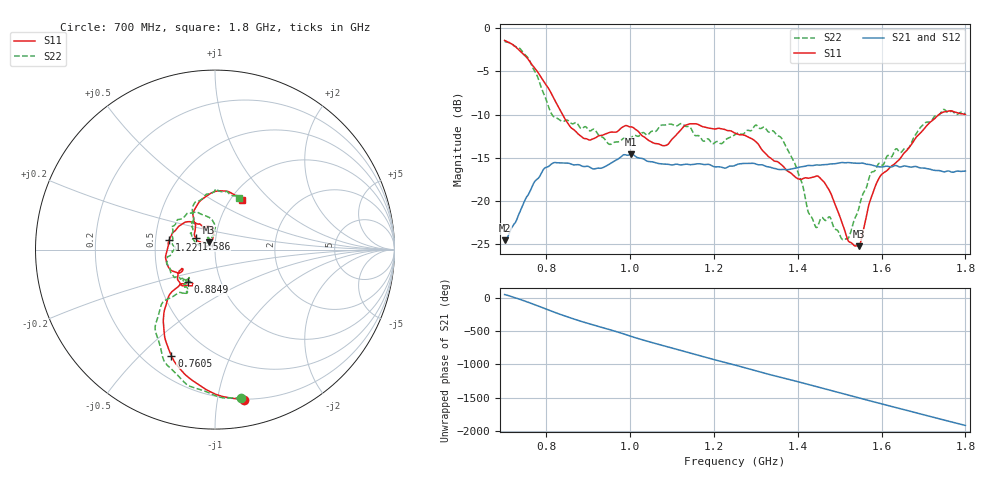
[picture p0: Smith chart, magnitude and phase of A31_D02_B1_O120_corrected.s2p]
! Created with skrf 1.9.0 (http://scikit-rf.org).
# Hz S RI R 50.0
!freq ReS11 ImS11 ReS21 ImS21 ReS12 ImS12 ReS22 ImS22
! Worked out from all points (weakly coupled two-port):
!   1601 points, 700 MHz to 1.8 GHz, reference 50 ohm
!   highest |S21| = -14.63 dB at 1.002 GHz (marker M1); lowest = -24.6 dB at 701.4 MHz (marker M2)
!   lowest |S11| = -25.3 dB at 1.545 GHz (marker M3), VSWR 1.12, Z = 46.4 + j3.79 ohm
!   |S11| at or under -10 dB: 838.3 MHz to 1.737 GHz (898.3 MHz wide, 69.8 % of centre); 1.799676 GHz to end of sweep
!   |S22| runs from -24.5 to -1.5 dB; largest |S21 - S12| = 0.0035
!   S11 on the Smith chart (normalised r, x): 700 MHz: 0.20, -1.19; 760.5 MHz: 0.31, -0.62; 884.9 MHz: 0.70, -0.27; 1.221 GHz: 0.59, +0.07; 1.586 GHz: 0.80, +0.10; 1.8 GHz: 1.12, +0.70
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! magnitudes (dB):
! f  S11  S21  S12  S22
! 700 MHz  -1.4  -24.6  -24.4  -1.5
! 701.4 MHz  -1.4  -24.6  -24.2  -1.5
! 760.5 MHz  -3.9  -18.9  -18.8  -3.8
! 814.8 MHz  -7.9  -15.6  -15.7  -10.1
! 883.6 MHz  -12.6  -16.0  -15.9  -11.6
! 884.9 MHz  -12.6  -16.0  -15.9  -11.6
! 950.9 MHz  -12.1  -15.7  -15.7  -13.5
! 1.002 GHz  -11.4  -14.6  -14.7  -12.7
! 1.067 GHz  -13.4  -15.7  -15.6  -11.6
! 1.14 GHz  -11.1  -15.8  -15.8  -11.4
! 1.221 GHz  -11.7  -16.2  -16.2  -13.3
! 1.25 GHz  -12.2  -15.9  -15.8  -12.3
! 1.359 GHz  -15.8  -16.4  -16.4  -12.6
! 1.394 GHz  -17.3  -16.2  -16.2  -15.9
! 1.434 GHz  -17.3  -15.9  -15.9  -22.0
! 1.471 GHz  -18.5  -15.8  -15.8  -22.0
! 1.514 GHz  -23.8  -15.6  -15.6  -24.4
! 1.545 GHz  -25.3  -15.7  -15.6  -21.0
! 1.586 GHz  -18.2  -16.0  -16.0  -16.3
! 1.617 GHz  -16.3  -16.0  -16.0  -14.8
! 1.738 GHz  -10.0  -16.5  -16.6  -10.0
! 1.8 GHz  -10.0  -16.6  -16.6  -9.9
